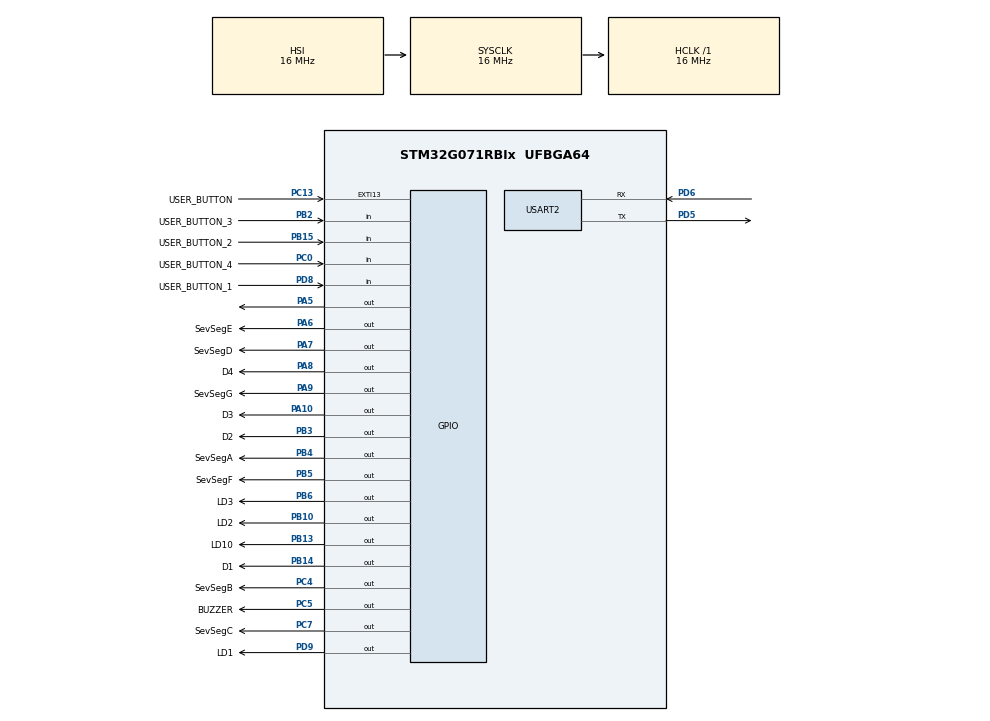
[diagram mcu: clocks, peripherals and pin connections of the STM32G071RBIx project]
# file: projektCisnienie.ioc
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Mcu.Family=STM32G0
Mcu.Name=STM32G071RBIx
Mcu.Package=UFBGA64
NVIC.EXTI4_15_IRQn=true\:0\:0\:false\:false\:true\:true\:true\:true
NVIC.TIM1_BRK_UP_TRG_COM_IRQn=true\:0\:0\:false\:false\:true\:true\:true\:true
PA10.GPIO_Label=D3
PA10.Signal=GPIO_Output
PA13.Mode=Serial_Wire
PA13.Signal=SYS_SWDIO
PA14-BOOT0.Mode=Serial_Wire
PA14-BOOT0.Signal=SYS_SWCLK
PA5.Signal=GPIO_Output
PA6.GPIO_Label=SevSegE
PA6.Signal=GPIO_Output
PA7.GPIO_Label=SevSegD
PA7.Signal=GPIO_Output
PA8.GPIO_Label=D4
PA8.Signal=GPIO_Output
PA9.GPIO_Label=SevSegG
PA9.Signal=GPIO_Output
PB10.GPIO_Label=LD2
PB10.Signal=GPIO_Output
PB13.GPIO_Label=LD10
PB13.Signal=GPIO_Output
PB14.GPIO_Label=D1
PB14.Signal=GPIO_Output
PB15.GPIO_Label=USER_BUTTON_2
PB15.GPIO_PuPd=GPIO_PULLUP
PB15.Signal=GPIO_Input
PB2.GPIO_Label=USER_BUTTON_3
PB2.GPIO_PuPd=GPIO_PULLUP
PB2.Signal=GPIO_Input
PB3.GPIO_Label=D2
PB3.Signal=GPIO_Output
PB4.GPIO_Label=SevSegA
PB4.Signal=GPIO_Output
PB5.GPIO_Label=SevSegF
PB5.Signal=GPIO_Output
PB6.GPIO_Label=LD3
PB6.Signal=GPIO_Output
PC0.GPIO_Label=USER_BUTTON_4
PC0.Signal=GPIO_Input
PC13.GPIO_Label=USER_BUTTON
PC13.GPIO_ModeDefaultEXTI=GPIO_MODE_IT_FALLING
PC13.Signal=GPXTI13
PC4.GPIO_Label=SevSegB
PC4.Signal=GPIO_Output
PC5.GPIO_Label=BUZZER
PC5.Signal=GPIO_Output
PC7.GPIO_Label=SevSegC
PC7.Signal=GPIO_Output
PD5.Mode=Asynchronous
PD5.Signal=USART2_TX
PD6.Mode=Asynchronous
PD6.Signal=USART2_RX
PD8.GPIO_Label=USER_BUTTON_1
PD8.GPIO_PuPd=GPIO_PULLUP
PD8.Signal=GPIO_Input
PD9.GPIO_Label=LD1
PD9.Signal=GPIO_Output
ProjectManager.HeapSize=0x200
ProjectManager.StackSize=0x400
ProjectManager.TargetToolchain=STM32CubeIDE
RCC.AHBFreq_Value=16000000
RCC.CortexFreq_Value=16000000
RCC.EXTERNAL_CLOCK_VALUE=48000
RCC.HCLKFreq_Value=16000000
RCC.HSE_VALUE=8000000
RCC.HSI_VALUE=16000000
RCC.LSE_VALUE=32768
RCC.SYSCLKFreq_VALUE=16000000
RCC.VCOOutputFreq_Value=128000000
TIM1.Period=3999
TIM1.Prescaler=3996
USART2.VirtualMode-Asynchronous=VM_ASYNC
VP_TIM1_VS_ClockSourceINT.Mode=Internal
board=custom

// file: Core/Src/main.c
/* USER CODE BEGIN Header */
/**
  ******************************************************************************
  * @file           : main.c
  * @brief          : Main program body
  ******************************************************************************
  * @attention
  *
  * Copyright (c) 2025 STMicroelectronics.
  * All rights reserved.
  *
  * This software is licensed under terms that can be found in the LICENSE file
  * in the root directory of this software component.
  * If no LICENSE file comes with this software, it is provided AS-IS.
  *
  ******************************************************************************
  */
/* USER CODE END Header */
#include "main.h"

/* USER CODE BEGIN Includes */
#include <string.h>
/* USER CODE END Includes */

TIM_HandleTypeDef htim1;

UART_HandleTypeDef huart2;

void SystemClock_Config(void);
static void MX_GPIO_Init(void);
static void MX_USART2_UART_Init(void);
static void MX_TIM1_Init(void);

/* USER CODE BEGIN 0 */
uint32_t counter = 60;
uint8_t state = 0;
uint8_t program = 0;
uint8_t temp1, temp2, temp3, temp4;
uint8_t segmentNumber[10][7] = {
		{1, 0, 0, 0, 0, 0, 0},  // 0
		{1, 1, 1, 1, 0, 0, 1},  // 1
		{0, 1, 0, 0, 1, 0, 0},  // 2
		{0, 1, 0, 1, 0, 0, 0},  // 3
		{0, 0, 1, 1, 0, 0, 1},  // 4
		{0, 0, 0, 1, 0, 1, 0},  // 5
		{0, 0, 0, 0, 0, 1, 0},  // 6
		{1, 1, 1, 1, 0, 0, 0},  // 7
		{0, 0, 0, 0, 0, 0, 0},  // 8
		{0, 0, 0, 1, 0, 0, 0}   // 9
};

void SevenSegment_Update(uint8_t number){
	HAL_GPIO_WritePin(SevSegA_GPIO_Port, SevSegA_Pin, segmentNumber[number][6]);
	HAL_GPIO_WritePin(SevSegB_GPIO_Port, SevSegB_Pin, segmentNumber[number][5]);
	HAL_GPIO_WritePin(SevSegC_GPIO_Port, SevSegC_Pin, segmentNumber[number][4]);
	HAL_GPIO_WritePin(SevSegD_GPIO_Port, SevSegD_Pin, segmentNumber[number][3]);
	HAL_GPIO_WritePin(SevSegE_GPIO_Port, SevSegE_Pin, segmentNumber[number][2]);
	HAL_GPIO_WritePin(SevSegF_GPIO_Port, SevSegF_Pin, segmentNumber[number][1]);
	HAL_GPIO_WritePin(SevSegG_GPIO_Port, SevSegG_Pin, segmentNumber[number][0]);
}

void First_program(){
    HAL_GPIO_WritePin(LD1_GPIO_Port, LD1_Pin, 1);
    HAL_Delay(5000);
    HAL_GPIO_WritePin(LD1_GPIO_Port, LD1_Pin, 0);
    HAL_GPIO_WritePin(BUZZER_GPIO_Port, BUZZER_Pin, 1);
    HAL_Delay(1000);
    HAL_GPIO_WritePin(BUZZER_GPIO_Port, BUZZER_Pin, 0);

    state = 0;
    program = 0;
}

void Second_program(){
    HAL_GPIO_WritePin(LD2_GPIO_Port, LD2_Pin, 1);
    HAL_TIM_Base_Start_IT(&htim1);
    while (counter > 0){
    	temp1 = counter/1000;
    	temp2 = ((counter/100)%10);
    	temp3 = ((counter/10)%10);
    	temp4 = (counter%10);
    	SevenSegment_Update(temp2);
    	HAL_GPIO_WritePin(D2_GPIO_Port, D2_Pin, GPIO_PIN_SET);
    	HAL_Delay(5);
    	HAL_GPIO_WritePin(D2_GPIO_Port, D2_Pin, GPIO_PIN_RESET);

    	SevenSegment_Update(temp3);
    	HAL_GPIO_WritePin(D3_GPIO_Port, D3_Pin, GPIO_PIN_SET);
    	HAL_Delay(5);
    	HAL_GPIO_WritePin(D3_GPIO_Port, D3_Pin, GPIO_PIN_RESET);

    	SevenSegment_Update(temp4);
    	HAL_GPIO_WritePin(D4_GPIO_Port, D4_Pin, GPIO_PIN_SET);
    	HAL_Delay(5);
    	HAL_GPIO_WritePin(D4_GPIO_Port, D4_Pin, GPIO_PIN_RESET);}

    HAL_GPIO_WritePin(BUZZER_GPIO_Port, BUZZER_Pin, 1);
    HAL_Delay(1000);
    HAL_GPIO_WritePin(BUZZER_GPIO_Port, BUZZER_Pin, 0);
    counter = 60;
    state = 0;
    program = 0;
    HAL_TIM_Base_Stop_IT(&htim1);
    HAL_GPIO_WritePin(LD2_GPIO_Port, LD2_Pin, 0);
}

void Third_program(){
    HAL_GPIO_WritePin(LD3_GPIO_Port, LD3_Pin, 1);
    HAL_Delay(5000);
    HAL_GPIO_WritePin(LD3_GPIO_Port, LD3_Pin, 0);
    HAL_GPIO_WritePin(BUZZER_GPIO_Port, BUZZER_Pin, 1);
    HAL_Delay(1000);
    HAL_GPIO_WritePin(BUZZER_GPIO_Port, BUZZER_Pin, 0);
    state = 0;
    program = 0;
}

void HAL_TIM_PeriodElapsedCallback(TIM_HandleTypeDef *htim)
{
 counter--;
}

void HAL_GPIO_EXTI_Callback(uint16_t GPIO_Pin)
{
  if (GPIO_Pin == USER_BUTTON_Pin) {
	  HAL_GPIO_TogglePin(GPIOA, GPIO_PIN_5);
  }
}

/* USER CODE END 0 */

int main(void)
{

  /* MCU Configuration--------------------------------------------------------*/

  /* Reset of all peripherals, Initializes the Flash interface and the Systick. */
  HAL_Init();

  /* Configure the system clock */
  SystemClock_Config();

  /* Initialize all configured peripherals */
  MX_GPIO_Init();
  MX_USART2_UART_Init();
  MX_TIM1_Init();

  /* Infinite loop */
  /* USER CODE BEGIN WHILE */
  while (1)
  {    HAL_GPIO_WritePin(GPIOA, GPIO_PIN_5, GPIO_PIN_RESET);
	  // przycisk do programu 1
	  if ((HAL_GPIO_ReadPin(USER_BUTTON_1_GPIO_Port, USER_BUTTON_1_Pin) == GPIO_PIN_RESET)&&(state == 0)) {
		  program = 1;
		  state = 1;
		  HAL_GPIO_WritePin(LD10_GPIO_Port, LD10_Pin, 0);
	  }
	  // przycisk do programu 2
	  if ((HAL_GPIO_ReadPin(USER_BUTTON_2_GPIO_Port, USER_BUTTON_2_Pin) == GPIO_PIN_RESET)&&(state == 0)) {
		  program = 2;
		  state = 1;
		  HAL_GPIO_WritePin(LD10_GPIO_Port, LD10_Pin, 0);
	  }
	  // przycisk do programu 3
	  if ((HAL_GPIO_ReadPin(USER_BUTTON_3_GPIO_Port, USER_BUTTON_3_Pin) == GPIO_PIN_RESET)&&(state == 0)) {
		  program = 3;
		  state = 1;
		  HAL_GPIO_WritePin(LD10_GPIO_Port, LD10_Pin, 0);
	  }

	  	/*const char message[] = "Hello world!\r\n";
	    HAL_UART_Transmit(&huart2, (uint8_t*)message, strlen(message), HAL_MAX_DELAY);*/
	  switch (program){
	  case 1: First_program(); 		//egzekucja pierwszego programu
	  break;
	  case 2: Second_program();		//egzekucja drugiego programu
	  break;
	  case 3: Third_program();		//egzekucja trzeciego programu
	  break;
	  default: HAL_GPIO_WritePin(LD10_GPIO_Port, LD10_Pin, 1);
	    }
    /* USER CODE END WHILE */

  }
}

void SystemClock_Config(void)
{
  RCC_OscInitTypeDef RCC_OscInitStruct = {0};
  RCC_ClkInitTypeDef RCC_ClkInitStruct = {0};

  /** Configure the main internal regulator output voltage
  */
  HAL_PWREx_ControlVoltageScaling(PWR_REGULATOR_VOLTAGE_SCALE1);

  /** Initializes the RCC Oscillators according to the specified parameters
  * in the RCC_OscInitTypeDef structure.
  */
  RCC_OscInitStruct.OscillatorType = RCC_OSCILLATORTYPE_HSI;
  RCC_OscInitStruct.HSIState = RCC_HSI_ON;
  RCC_OscInitStruct.HSIDiv = RCC_HSI_DIV1;
  RCC_OscInitStruct.HSICalibrationValue = RCC_HSICALIBRATION_DEFAULT;
  RCC_OscInitStruct.PLL.PLLState = RCC_PLL_NONE;
  if (HAL_RCC_OscConfig(&RCC_OscInitStruct) != HAL_OK)
  {
    Error_Handler();
  }

  /** Initializes the CPU, AHB and APB buses clocks
  */
  RCC_ClkInitStruct.ClockType = RCC_CLOCKTYPE_HCLK|RCC_CLOCKTYPE_SYSCLK
                              |RCC_CLOCKTYPE_PCLK1;
  RCC_ClkInitStruct.SYSCLKSource = RCC_SYSCLKSOURCE_HSI;
  RCC_ClkInitStruct.AHBCLKDivider = RCC_SYSCLK_DIV1;
  RCC_ClkInitStruct.APB1CLKDivider = RCC_HCLK_DIV1;

  if (HAL_RCC_ClockConfig(&RCC_ClkInitStruct, FLASH_LATENCY_0) != HAL_OK)
  {
    Error_Handler();
  }
}

static void MX_TIM1_Init(void)
{

  TIM_ClockConfigTypeDef sClockSourceConfig = {0};
  TIM_MasterConfigTypeDef sMasterConfig = {0};

  /* USER CODE BEGIN TIM1_Init 1 */
  __HAL_RCC_TIM1_CLK_ENABLE();
  htim1.Instance = TIM1;
  htim1.Init.Prescaler = 999;
  htim1.Init.CounterMode = TIM_COUNTERMODE_UP;
  htim1.Init.Period = 999;
  htim1.Init.ClockDivision = TIM_CLOCKDIVISION_DIV1;
  htim1.Init.RepetitionCounter = 0;
  htim1.Init.AutoReloadPreload = TIM_AUTORELOAD_PRELOAD_DISABLE;
  /* USER CODE END TIM1_Init 1 */
  htim1.Instance = TIM1;
  htim1.Init.Prescaler = 3996;
  htim1.Init.CounterMode = TIM_COUNTERMODE_UP;
  htim1.Init.Period = 3999;
  htim1.Init.ClockDivision = TIM_CLOCKDIVISION_DIV1;
  htim1.Init.RepetitionCounter = 0;
  htim1.Init.AutoReloadPreload = TIM_AUTORELOAD_PRELOAD_DISABLE;
  if (HAL_TIM_Base_Init(&htim1) != HAL_OK)
  {
    Error_Handler();
  }
  sClockSourceConfig.ClockSource = TIM_CLOCKSOURCE_INTERNAL;
  if (HAL_TIM_ConfigClockSource(&htim1, &sClockSourceConfig) != HAL_OK)
  {
    Error_Handler();
  }
  sMasterConfig.MasterOutputTrigger = TIM_TRGO_RESET;
  sMasterConfig.MasterOutputTrigger2 = TIM_TRGO2_RESET;
  sMasterConfig.MasterSlaveMode = TIM_MASTERSLAVEMODE_DISABLE;
  if (HAL_TIMEx_MasterConfigSynchronization(&htim1, &sMasterConfig) != HAL_OK)
  {
    Error_Handler();
  }

}

static void MX_USART2_UART_Init(void)
{

  huart2.Instance = USART2;
  huart2.Init.BaudRate = 115200;
  huart2.Init.WordLength = UART_WORDLENGTH_8B;
  huart2.Init.StopBits = UART_STOPBITS_1;
  huart2.Init.Parity = UART_PARITY_NONE;
  huart2.Init.Mode = UART_MODE_TX_RX;
  huart2.Init.HwFlowCtl = UART_HWCONTROL_NONE;
  huart2.Init.OverSampling = UART_OVERSAMPLING_16;
  huart2.Init.OneBitSampling = UART_ONE_BIT_SAMPLE_DISABLE;
  huart2.Init.ClockPrescaler = UART_PRESCALER_DIV1;
  huart2.AdvancedInit.AdvFeatureInit = UART_ADVFEATURE_NO_INIT;
  if (HAL_UART_Init(&huart2) != HAL_OK)
  {
    Error_Handler();
  }
  if (HAL_UARTEx_SetTxFifoThreshold(&huart2, UART_TXFIFO_THRESHOLD_1_8) != HAL_OK)
  {
    Error_Handler();
  }
  if (HAL_UARTEx_SetRxFifoThreshold(&huart2, UART_RXFIFO_THRESHOLD_1_8) != HAL_OK)
  {
    Error_Handler();
  }
  if (HAL_UARTEx_DisableFifoMode(&huart2) != HAL_OK)
  {
    Error_Handler();
  }

}

static void MX_GPIO_Init(void)
{
  GPIO_InitTypeDef GPIO_InitStruct = {0};

  /* GPIO Ports Clock Enable */
  __HAL_RCC_GPIOB_CLK_ENABLE();
  __HAL_RCC_GPIOD_CLK_ENABLE();
  __HAL_RCC_GPIOC_CLK_ENABLE();
  __HAL_RCC_GPIOA_CLK_ENABLE();

  /*Configure GPIO pin Output Level */
  HAL_GPIO_WritePin(GPIOB, LD3_Pin|D2_Pin|SevSegA_Pin|SevSegF_Pin
                          |D1_Pin|LD2_Pin|LD10_Pin, GPIO_PIN_RESET);

  /*Configure GPIO pin Output Level */
  HAL_GPIO_WritePin(GPIOA, D3_Pin|SevSegD_Pin|SevSegG_Pin|SevSegE_Pin
                          |D4_Pin|GPIO_PIN_5, GPIO_PIN_RESET);

  /*Configure GPIO pin Output Level */
  HAL_GPIO_WritePin(LD1_GPIO_Port, LD1_Pin, GPIO_PIN_RESET);

  /*Configure GPIO pin Output Level */
  HAL_GPIO_WritePin(GPIOC, SevSegC_Pin|SevSegB_Pin|BUZZER_Pin, GPIO_PIN_RESET);

  /*Configure GPIO pins : LD3_Pin D2_Pin SevSegA_Pin SevSegF_Pin
                           D1_Pin LD2_Pin LD10_Pin */
  GPIO_InitStruct.Pin = LD3_Pin|D2_Pin|SevSegA_Pin|SevSegF_Pin
                          |D1_Pin|LD2_Pin|LD10_Pin;
  GPIO_InitStruct.Mode = GPIO_MODE_OUTPUT_PP;
  GPIO_InitStruct.Pull = GPIO_NOPULL;
  GPIO_InitStruct.Speed = GPIO_SPEED_FREQ_LOW;
  HAL_GPIO_Init(GPIOB, &GPIO_InitStruct);

  /*Configure GPIO pin : USER_BUTTON_Pin */
  GPIO_InitStruct.Pin = USER_BUTTON_Pin;
  GPIO_InitStruct.Mode = GPIO_MODE_IT_FALLING;
  GPIO_InitStruct.Pull = GPIO_NOPULL;
  HAL_GPIO_Init(USER_BUTTON_GPIO_Port, &GPIO_InitStruct);

  /*Configure GPIO pins : D3_Pin SevSegD_Pin SevSegG_Pin SevSegE_Pin
                           D4_Pin PA5 */
  GPIO_InitStruct.Pin = D3_Pin|SevSegD_Pin|SevSegG_Pin|SevSegE_Pin
                          |D4_Pin|GPIO_PIN_5;
  GPIO_InitStruct.Mode = GPIO_MODE_OUTPUT_PP;
  GPIO_InitStruct.Pull = GPIO_NOPULL;
  GPIO_InitStruct.Speed = GPIO_SPEED_FREQ_LOW;
  HAL_GPIO_Init(GPIOA, &GPIO_InitStruct);

  /*Configure GPIO pin : LD1_Pin */
  GPIO_InitStruct.Pin = LD1_Pin;
  GPIO_InitStruct.Mode = GPIO_MODE_OUTPUT_PP;
  GPIO_InitStruct.Pull = GPIO_NOPULL;
  GPIO_InitStruct.Speed = GPIO_SPEED_FREQ_LOW;
  HAL_GPIO_Init(LD1_GPIO_Port, &GPIO_InitStruct);

  /*Configure GPIO pin : USER_BUTTON_4_Pin */
  GPIO_InitStruct.Pin = USER_BUTTON_4_Pin;
  GPIO_InitStruct.Mode = GPIO_MODE_INPUT;
  GPIO_InitStruct.Pull = GPIO_NOPULL;
  HAL_GPIO_Init(USER_BUTTON_4_GPIO_Port, &GPIO_InitStruct);

  /*Configure GPIO pins : SevSegC_Pin SevSegB_Pin BUZZER_Pin */
  GPIO_InitStruct.Pin = SevSegC_Pin|SevSegB_Pin|BUZZER_Pin;
  GPIO_InitStruct.Mode = GPIO_MODE_OUTPUT_PP;
  GPIO_InitStruct.Pull = GPIO_NOPULL;
  GPIO_InitStruct.Speed = GPIO_SPEED_FREQ_LOW;
  HAL_GPIO_Init(GPIOC, &GPIO_InitStruct);

  /*Configure GPIO pin : USER_BUTTON_1_Pin */
  GPIO_InitStruct.Pin = USER_BUTTON_1_Pin;
  GPIO_InitStruct.Mode = GPIO_MODE_INPUT;
  GPIO_InitStruct.Pull = GPIO_PULLUP;
  HAL_GPIO_Init(USER_BUTTON_1_GPIO_Port, &GPIO_InitStruct);

  /*Configure GPIO pins : USER_BUTTON_2_Pin USER_BUTTON_3_Pin */
  GPIO_InitStruct.Pin = USER_BUTTON_2_Pin|USER_BUTTON_3_Pin;
  GPIO_InitStruct.Mode = GPIO_MODE_INPUT;
  GPIO_InitStruct.Pull = GPIO_PULLUP;
  HAL_GPIO_Init(GPIOB, &GPIO_InitStruct);

  /* EXTI interrupt init*/
  HAL_NVIC_SetPriority(EXTI4_15_IRQn, 0, 0);
  HAL_NVIC_EnableIRQ(EXTI4_15_IRQn);

}

void Error_Handler(void)
{
  __disable_irq();
  while (1)
  {
  }
}
